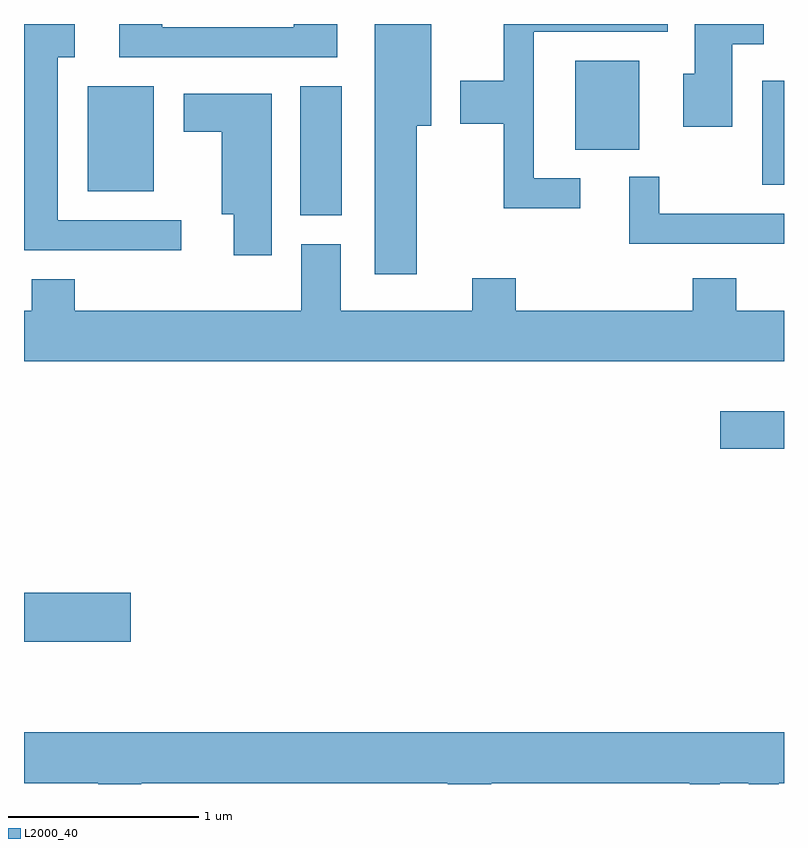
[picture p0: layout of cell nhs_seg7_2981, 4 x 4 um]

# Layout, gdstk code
import gdstk
lib = gdstk.Library(unit=1e-6, precision=1e-09)
def R(c, l, rs):  # rectangles x0, y0, x1, y1
    for r in rs: c.add(gdstk.rectangle(r[:2], r[2:], *l))
def P(c, l, *ps):  # polygons
    for p in ps: c.add(gdstk.Polygon(p, *l))
L2000_40 = (2000, 40)

nhs_seg7_2981 = lib.new_cell('nhs_seg7_2981')
R(nhs_seg7_2981, L2000_40, [(275.611,1775.001,276.174,1775.259), (279.276,1776.016,279.611,1776.214), (277.066,1777.246,277.284,1777.924), (275.946,1777.371,276.294,1777.924), (279.496,1777.406,279.611,1777.954), (278.511,1777.591,278.849,1778.059)])
P(nhs_seg7_2981, L2000_40, [(279.339,1778.146),(279.504,1778.146),(279.504,1778.252),(279.141,1778.252),(279.141,1777.989),(279.081,1777.989),(279.081,1777.711),(279.339,1777.711)],
  [(278.538,1777.439),(278.294,1777.439),(278.294,1778.211),(278.998,1778.211),(278.998,1778.252),(278.136,1778.252),(278.136,1777.954),(277.906,1777.954),(277.906,1777.726),(278.136,1777.726),(278.136,1777.281),(278.538,1777.281)],
  [(276.438,1777.219),(275.789,1777.219),(275.789,1778.076),(275.879,1778.076),(275.879,1778.252),(275.611,1778.252),(275.611,1777.061),(276.438,1777.061)],
  [(277.679,1777.716),(277.754,1777.716),(277.754,1778.252),(277.456,1778.252),(277.456,1776.936),(277.679,1776.936)],
  [(277.259,1778.252),(277.031,1778.252),(277.031,1778.234),(276.339,1778.234),(276.339,1778.252),(276.111,1778.252),(276.111,1778.076),(277.259,1778.076)],
  [(276.914,1777.884),(276.451,1777.884),(276.451,1777.686),(276.651,1777.686),(276.651,1777.251),(276.716,1777.251),(276.716,1777.036),(276.914,1777.036)],
  [(279.611,1777.254),(278.954,1777.254),(278.954,1777.448),(278.796,1777.448),(278.796,1777.096),(279.611,1777.096)],
  [(279.611,1776.744),(279.359,1776.744),(279.359,1776.914),(279.131,1776.914),(279.131,1776.744),(278.199,1776.744),(278.199,1776.914),(277.971,1776.914),(277.971,1776.744),(277.279,1776.744),(277.279,1777.094),(277.071,1777.094),(277.071,1776.744),(275.879,1776.744),(275.879,1776.909),(275.651,1776.909),(275.651,1776.744),(275.611,1776.744),(275.611,1776.476),(279.611,1776.476)],
  [(276.229,1774.256),(277.841,1774.256),(277.841,1774.252),(278.069,1774.252),(278.069,1774.256),(279.116,1774.256),(279.116,1774.252),(279.274,1774.252),(279.274,1774.256),(279.426,1774.256),(279.426,1774.252),(279.584,1774.252),(279.584,1774.256),(279.611,1774.256),(279.611,1774.524),(275.611,1774.524),(275.611,1774.256),(276.001,1774.256),(276.001,1774.252),(276.229,1774.252)])

lib.write_gds('nhs_seg7_2981.gds')
